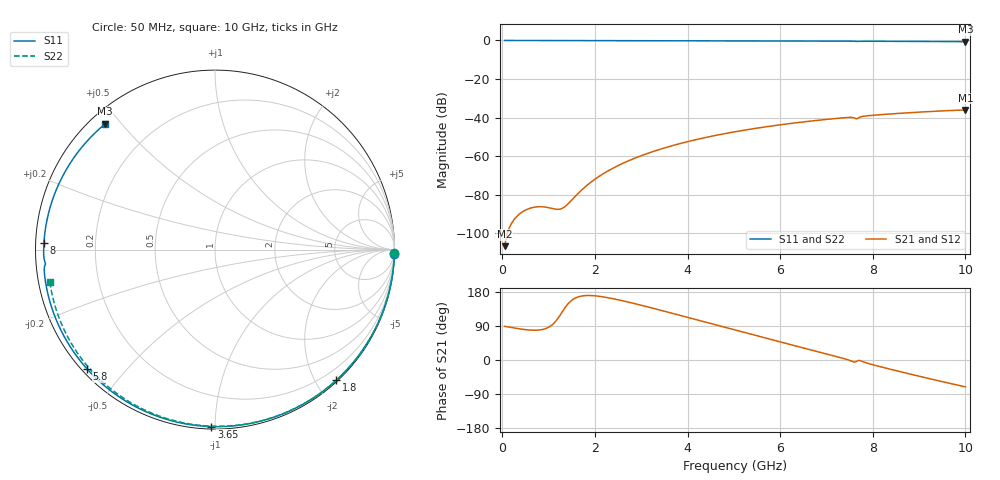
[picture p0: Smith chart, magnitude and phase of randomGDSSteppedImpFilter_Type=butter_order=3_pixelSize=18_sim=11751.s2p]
! freq	dB(S11)	phase(S11)	dB(S12)	phase(S12)
!  dB(S21)	phase(S21)	dB(S22)	phase(S22)
!S-par simulation data
#  GHz  S  DB  R 50
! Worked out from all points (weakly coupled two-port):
!   200 points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, 50 MHz to 10 GHz, reference 50 ohm
!   highest |S21| = -36.02 dB at 10 GHz (marker M1); lowest = -106.6 dB at 50 MHz (marker M2)
!   lowest |S11| = -0.6 dB at 10 GHz (marker M3), VSWR 27.57, Z = 2.19 + j22.7 ohm
!   |S11| at or under -10 dB: nowhere
!   |S22| runs from -0.6 to 0.0 dB; largest |S21 - S12| = 0
!   S11 on the Smith chart (normalised r, x): 50 MHz: 0, -85; 1.8 GHz: 0.02, -2.30; 3.65 GHz: 0.01, -0.98; 5.8 GHz: 0.01, -0.39; 8 GHz: 0.02, +0.02; 10 GHz: 0.04, +0.45
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0.05  -0.00 -1.4  -106.64 88.9  -106.64 88.9  -0.00 -1.0
0.4  -0.01 -10.7  -89.41 81.7  -89.41 81.7  -0.01 -7.8
0.8  -0.03 -21.3  -86.19 79.2  -86.19 79.2  -0.02 -15.5
1.6  -0.05 -42.0  -80.22 164.8  -80.22 164.8  -0.04 -30.7
1.75  -0.06 -45.8  -76.74 169.4  -76.74 169.4  -0.04 -33.5
1.8  -0.06 -47.1  -75.69 170.0  -75.69 170.0  -0.04 -34.5
2.1  -0.07 -54.6  -70.30 168.0  -70.30 168.0  -0.05 -40.0
2.45  -0.08 -63.1  -65.47 160.3  -65.47 160.3  -0.06 -46.5
2.9  -0.09 -73.9  -60.66 147.5  -60.66 147.5  -0.07 -54.6
3.4  -0.11 -85.5  -56.46 131.9  -56.46 131.9  -0.08 -63.5
3.65  -0.12 -91.2  -54.68 123.9  -54.68 123.9  -0.09 -67.8
4.35  -0.15 -106.6  -50.51 101.1  -50.51 101.1  -0.11 -79.8
5.05  -0.18 -121.5  -47.23 78.3  -47.23 78.3  -0.14 -91.3
5.8  -0.22 -137.0  -44.39 54.2  -44.39 54.2  -0.18 -103.4
6.7  -0.29 -155.4  -41.69 25.6  -41.69 25.6  -0.23 -117.4
7.5  -0.36 -172.1  -39.89 -1.0  -39.89 -1.0  -0.29 -129.7
7.65  -0.47 -175.2  -40.66 -3.9  -40.66 -3.9  -0.30 -131.9
7.75  -0.41 -176.9  -39.53 -2.8  -39.53 -2.8  -0.31 -133.5
8  -0.41 177.6  -38.79 -12.5  -38.79 -12.5  -0.33 -137.3
8.35  -0.44 170.0  -38.15 -23.5  -38.15 -23.5  -0.36 -142.6
9.2  -0.53 150.7  -36.89 -48.6  -36.89 -48.6  -0.46 -155.8
10  -0.63 131.1  -36.02 -71.0  -36.02 -71.0  -0.56 -169.0
